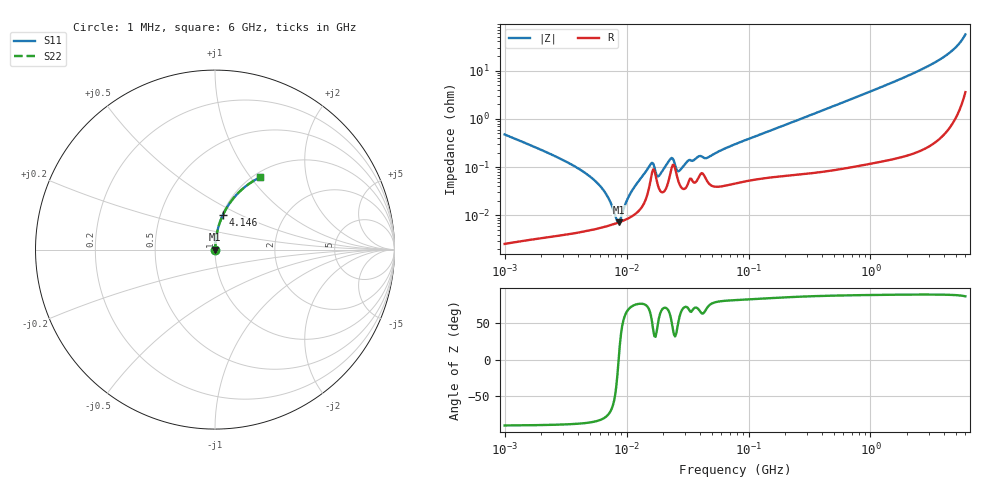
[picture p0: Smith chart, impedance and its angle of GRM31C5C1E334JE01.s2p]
!Murata Part Number: GRM31C5C1E334JE01
!These Parameters are Measured in Series Mode Connection
!Data Generated on Mar 30, 2021
!  o--ll--o
!Port1  Port2
!  o------o
!Operation Temp=25[degC], DC Bias Voltage=0[V]
!Freq. Start=1000[kHz] Stop=6[GHz] 401[Steps]
# Hz S RI R 50
!Freq.(Hz) S11(Real) S11(Imag) S21(Real) S21(Imag) S12(Real) S12(Imag) S22(Real) S22(Imag)
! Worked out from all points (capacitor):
!   401 points, 1 MHz to 6 GHz, reference 50 ohm
!   read as one part in series: C = 331 nF near 1.044 MHz
!   lowest |Z| = 7.16 mohm at 8.612 MHz (marker M1)
!   series resonance near 8.607 MHz, so ESL is about 1 nH
!   S11 on the Smith chart (normalised r, x): 1 MHz: 1.00, -0.01; 4.146 GHz: 1.01, +0.41; 6 GHz: 1.07, +1.12
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1000000  4.83e-05 -0.00475  1 0.00475  1 0.00475  4.83e-05 -0.00475
4293785  4.62e-05 -0.000845  1 0.000845  1 0.000845  4.62e-05 -0.000845
6214580  5.59e-05 -0.000375  0.9999 0.000375  0.9999 0.000375  5.59e-05 -0.000375
7080828  6.11e-05 -0.000224  0.9999 0.000224  0.9999 0.000224  6.11e-05 -0.000224
8067822  6.76e-05 -7.45e-05  0.9999 7.45e-05  0.9999 7.45e-05  6.76e-05 -7.45e-05
8611770  7.16e-05 7e-07  0.9999 -7e-07  0.9999 -7e-07  7.16e-05 7e-07
9192393  7.63e-05 7.72e-05  0.9999 -7.72e-05  0.9999 -7.72e-05  7.63e-05 7.72e-05
1.117988e7  9.78e-05 0.000324  0.9999 -0.000324  0.9999 -0.000324  9.78e-05 0.000324
1.549236e7  0.000438 0.000988  0.9996 -0.000988  0.9996 -0.000988  0.000438 0.000988
1.618111e7  0.000768 0.000962  0.9992 -0.000962  0.9992 -0.000962  0.000768 0.000962
1.843659e7  0.000362 0.000553  0.9996 -0.000553  0.9996 -0.000553  0.000362 0.000553
2.291577e7  0.000765 0.00127  0.9992 -0.00127  0.9992 -0.00127  0.000765 0.00127
2.727078e7  0.000432 0.000733  0.9996 -0.000733  0.9996 -0.000733  0.000432 0.000733
3.245342e7  0.000516 0.0013  0.9995 -0.0013  0.9995 -0.0013  0.000516 0.0013
3.947016e7  0.000654 0.00156  0.9993 -0.00156  0.9993 -0.00156  0.000654 0.00156
4.596069e7  0.000507 0.00148  0.9995 -0.00148  0.9995 -0.00148  0.000507 0.00148
7.745967e7  0.000467 0.00294  0.9995 -0.00294  0.9995 -0.00294  0.000467 0.00294
3.325952e8  0.000903 0.0123  0.9991 -0.0123  0.9991 -0.0123  0.000903 0.0123
1.428092e9  0.00423 0.0531  0.9958 -0.0531  0.9958 -0.0531  0.00423 0.0531
4.145528e9  0.0446 0.1942  0.9554 -0.1942  0.9554 -0.1942  0.0446 0.1942
5.152685e9  0.1055 0.2892  0.8945 -0.2892  0.8945 -0.2892  0.1055 0.2892
6e9  0.2514 0.403  0.7486 -0.403  0.7486 -0.403  0.2514 0.403
